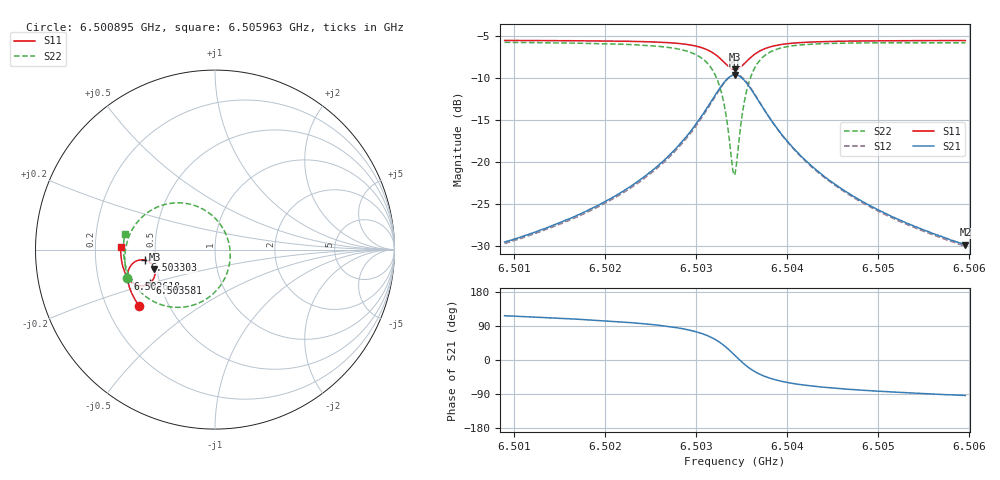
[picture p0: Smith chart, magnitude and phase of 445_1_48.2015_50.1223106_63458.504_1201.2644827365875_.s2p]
#  HZ  S  RI  R  50.00
! Rohde & Schwarz Vector Network Analyzer
! Rohde-Schwarz,ZNB20-2Port,1311601062101988,3.16
! Created: UTC 3/20/2024, 11:55:59 AM
! freq[Hz]  re:S11  im:S11  re:S21  im:S21  re:S12  im:S12  re:S22  im:S22
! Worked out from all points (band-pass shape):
!   401 points, 6.500895 GHz to 6.505963 GHz, reference 50 ohm
!   highest |S21| = -9.67 dB at 6.503429 GHz (marker M1); lowest = -29.9 dB at 6.505963 GHz (marker M2)
!   |S21| within 3 dB of the highest: 6.503176 GHz to 6.503683 GHz (506.9 kHz wide, 0.00779 % of centre)
!   lowest |S11| = -9.0 dB at 6.503429 GHz (marker M3), VSWR 2.10, Z = 24.3 - j5.95 ohm
!   |S11| at or under -10 dB: nowhere
!   |S22| runs from -21.6 to -5.8 dB; largest |S21 - S12| = 0.012
!   S11 on the Smith chart (normalised r, x): 6.500895 GHz: 0.34, -0.29; 6.502618 GHz: 0.33, -0.15; 6.503303 GHz: 0.44, -0.06; 6.503581 GHz: 0.44, -0.20; 6.505963 GHz: 0.31, +0.01
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6.5008951e9  -0.424 -0.3122  -0.0151 0.0297  -0.0133 0.0298  -0.4877 -0.16
6.501744e9  -0.4608 -0.2499  -0.0144 0.0473  -0.012 0.0469  -0.502 -0.0707
6.5021748e9  -0.4762 -0.2122  -0.0119 0.0646  -0.0089 0.0636  -0.5003 -0.0109
6.502593e9  -0.4866 -0.1669  -0.00278 0.0959  0.000982 0.0935  -0.4806 0.0703
6.5026183e9  -0.487 -0.1636  -0.00164 0.0985  0.00226 0.0963  -0.4781 0.0765
6.5029097e9  -0.4834 -0.1191  0.0255 0.1423  0.0293 0.1379  -0.4219 0.1654
6.5030998e9  -0.4622 -0.081  0.0791 0.1842  0.0817 0.1782  -0.3195 0.2379
6.5032138e9  -0.4299 -0.0602  0.1478 0.202  0.1488 0.1957  -0.1956 0.2606
6.5033025e9  -0.3897 -0.0583  0.2271 0.1861  0.2275 0.181  -0.0593 0.2211
6.5033405e9  -0.3704 -0.0659  0.2633 0.1633  0.2642 0.1586  0.000627 0.1747
6.5034039e9  -0.3437 -0.0924  0.3113 0.0996  0.3138 0.0947  0.0731 0.0522
6.5034292e9  -0.3373 -0.1072  0.3214 0.0675  0.3247 0.0617  0.0842 -0.0076
6.5034546e9  -0.3342 -0.1228  0.3251 0.0339  0.3287 0.027  0.0824 -0.0688
6.5035179e9  -0.3413 -0.16  0.3073 -0.0441  0.3095 -0.054  0.0275 -0.2043
6.5035813e9  -0.3622 -0.1859  0.2645 -0.0983  0.2636 -0.1096  -0.0687 -0.2874
6.5036827e9  -0.4017 -0.2013  0.1899 -0.1344  0.1847 -0.1441  -0.2187 -0.3217
6.5038474e9  -0.4481 -0.1918  0.1085 -0.1316  0.1014 -0.1366  -0.3657 -0.2755
6.5040248e9  -0.4755 -0.1704  0.0639 -0.1115  0.0577 -0.1139  -0.4378 -0.2109
6.5042782e9  -0.4962 -0.1403  0.034 -0.0874  0.0292 -0.0879  -0.4812 -0.1389
6.5046583e9  -0.5117 -0.1009  0.015 -0.0643  0.0117 -0.064  -0.5038 -0.0641
6.5051271e9  -0.5212 -0.0575  0.00513 -0.0478  0.0028 -0.0472  -0.5098 0.00155
6.5059634e9  -0.526 0.013  -0.00207 -0.0321  -0.00338 -0.0313  -0.5021 0.0895
